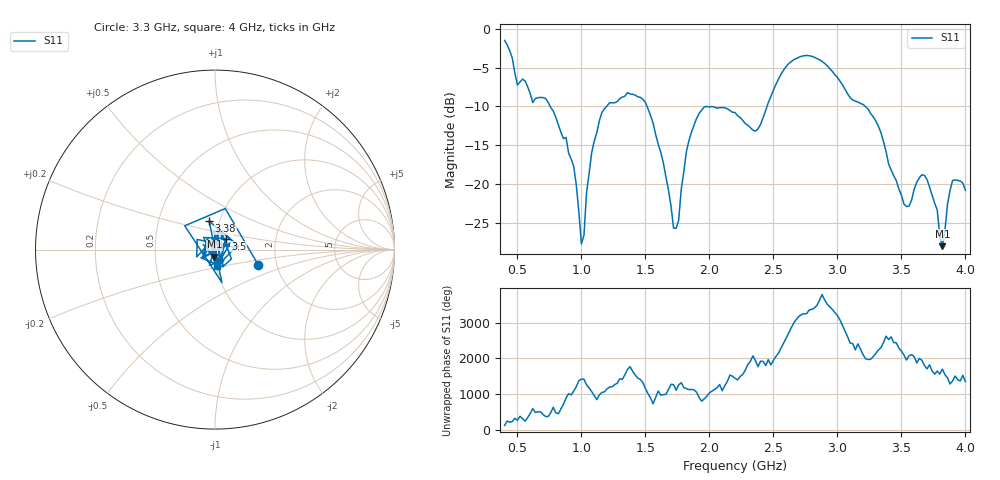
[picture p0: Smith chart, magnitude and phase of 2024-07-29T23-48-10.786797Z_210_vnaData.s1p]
!Created with skrf (http://scikit-rf.org).
# Hz S RI R 50.0
!freq ReS11 ImS11
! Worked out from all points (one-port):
!   181 points, 400 MHz to 4 GHz, reference 50 ohm
!   lowest |S11| = -28.0 dB at 3.82 GHz (marker M1), VSWR 1.08, Z = 49.5 - j3.91 ohm
!   |S11| at or under -10 dB: 756 MHz to 1.198 GHz (441.9 MHz wide, 45.2 % of centre); 1.513 GHz to 2.45 GHz (937.8 MHz wide, 47.3 % of centre); 3.218 GHz to end of sweep
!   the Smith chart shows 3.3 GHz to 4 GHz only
!   S11 on the Smith chart (normalised r, x): 3.3 GHz: 1.60, -0.29; 3.38 GHz: 0.89, +0.29; 3.5 GHz: 1.12, +0.14; 4 GHz: 1.00, -0.18
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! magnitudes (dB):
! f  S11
! 400 MHz  -1.5
! 500 MHz  -7.2
! 720 MHz  -9.0
! 860 MHz  -14.2
! 940 MHz  -17.7
! 1 GHz  -27.8
! 1.08 GHz  -16.0
! 1.14 GHz  -11.9
! 1.3 GHz  -9.0
! 1.5 GHz  -9.5
! 1.64 GHz  -17.3
! 1.72 GHz  -25.7
! 1.76 GHz  -24.7
! 1.82 GHz  -15.9
! 1.92 GHz  -10.9
! 2.2 GHz  -10.8
! 2.36 GHz  -13.2
! 2.66 GHz  -4.0
! 2.88 GHz  -4.2
! 3.1 GHz  -8.9
! 3.3 GHz  -11.9
! 3.38 GHz  -15.8
! 3.5 GHz  -21.4
! 3.56 GHz  -22.9
! 3.68 GHz  -18.9
! 3.82 GHz  -28.0
! 3.9 GHz  -19.6
! 4 GHz  -20.8
